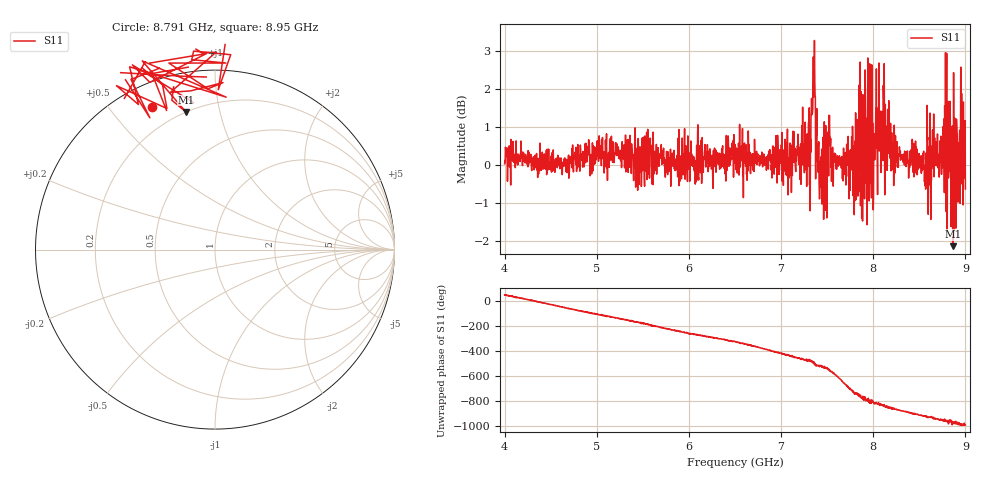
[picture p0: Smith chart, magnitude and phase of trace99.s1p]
! Created with skrf 1.8.0 (http://scikit-rf.org).
# Hz S RI R 50.0
!freq ReS11 ImS11
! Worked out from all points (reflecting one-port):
!   1601 points, 4 GHz to 9 GHz, reference 50 ohm
!   lowest |S11| = -2.1 dB at 8.862 GHz (marker M1), VSWR 8.21, Z = 10 + j39.6 ohm
!   phase of S11 starts at 51 deg and turns -1046 deg over the sweep
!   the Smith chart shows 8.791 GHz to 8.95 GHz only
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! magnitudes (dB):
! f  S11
! 4 GHz  0.0
! 4.625 GHz  -0.2
! 5.25 GHz  0.3
! 5.875 GHz  0.0
! 6.5 GHz  0.5
! 7.125 GHz  0.6
! 7.291 GHz  0.8
! 7.347 GHz  2.1
! 7.372 GHz  1.8
! 7.4 GHz  0.3
! 7.438 GHz  -0.2
! 7.509 GHz  0.2
! 7.572 GHz  0.2
! 7.75 GHz  -0.7
! 7.816 GHz  -0.9
! 7.962 GHz  2.7
! 7.997 GHz  0.2
! 8.009 GHz  0.3
! 8.022 GHz  0.6
! 8.038 GHz  0.5
! 8.097 GHz  1.4
! 8.216 GHz  0.5
! 8.375 GHz  0.2
! 8.578 GHz  -0.3
! 8.809 GHz  0.5
! 8.862 GHz  -2.1
! 8.972 GHz  0.4
! 9 GHz  -0.6
